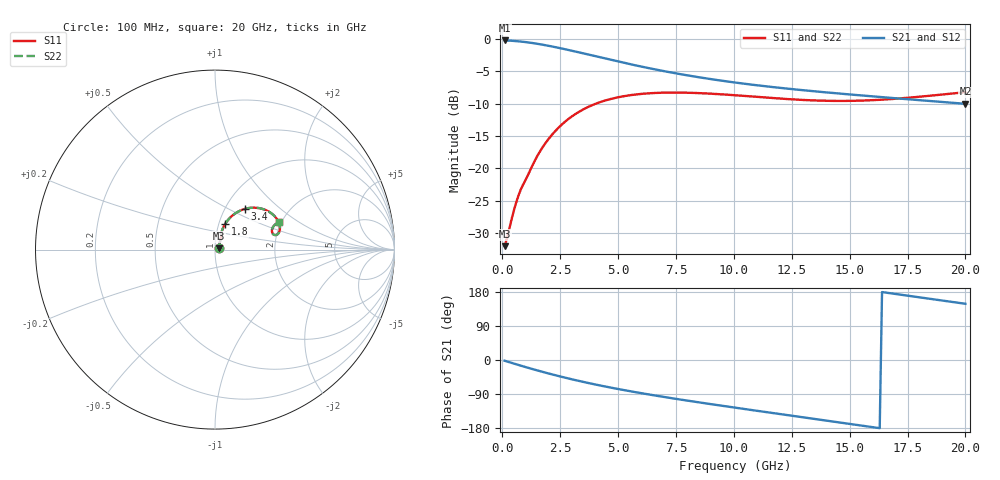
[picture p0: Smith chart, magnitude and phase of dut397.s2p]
! Touchstone file exported from HFSS 2024.1.0
!  File:  C:/UserFiles/LocalFiles/RDL_TSV_Batchsim/temp_RDL_TSV_397_1779648984.aedt
!  Generated:  03:12:26 AM May 25, 2026
!  Design:  RDL_TSV
!  Project:  temp_RDL_TSV_397_1779648984
!  Setup:  Setup1
!  Solution:  Sweep
! Variables:
!  dtsv = 11.05um
!  hbump = 3um
!  htsv = 62.61um
!  ldown = 669.67um
!  lrdl = 277.99um
!  p = 40
!  p1 = 51.76um
!  rhole = 10um
!  subl = 3120.97um
!  t = 450um
!  tdown = 4.23um
!  trdl = 3.35um
!  viad = 10um
!  wdown = 10.68um
!  wrdl = 14.39um
!  xbump = 18um
# GHz S MA R 50.000000
! Terminal data exported
! Port[1] = TM1_1_T1
! Port[2] = TM1_4_T1
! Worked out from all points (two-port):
!   200 points, 100 MHz to 20 GHz, reference 50 ohm
!   highest |S21| = -0.21 dB at 100 MHz (marker M1); lowest = -10.0 dB at 20 GHz (marker M2)
!   |S21| within 3 dB of the highest: start of sweep to 4.695 GHz
!   lowest |S11| = -32.0 dB at 100 MHz (marker M3), VSWR 1.05, Z = 52.4 + j0.818 ohm
!   |S11| at or under -10 dB: start of sweep to 4.034 GHz
!   |S22| runs from -32.0 to -8.2 dB; largest |S21 - S12| = 6.7e-14
!   S11 on the Smith chart (normalised r, x): 100 MHz: 1.05, +0.02; 1.8 GHz: 1.07, +0.31; 3.4 GHz: 1.23, +0.60; 20 GHz: 1.95, +0.70
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0.1  0.02503 18.1  0.976 -1.9  0.976 -1.9  0.02503 18.1
! Gamma 0 0 0 0
! Port Impedance 50 0 50 0
0.2  0.02871 32.9  0.9748 -3.8  0.9748 -3.8  0.0287 32.9
0.5  0.04723 55.6  0.968 -9.5  0.968 -9.5  0.04734 55.8
0.7  0.06175 61.0  0.9612 -13.1  0.9612 -13.1  0.0623 61.0
0.8  0.06868 62.3  0.9573 -15.0  0.9573 -15.0  0.06938 61.9
1  0.0811 65.2  0.9484 -18.6  0.9484 -18.6  0.08016 64.5
1.4  0.1143 69.6  0.9268 -25.6  0.9268 -25.6  0.1143 69.8
1.8  0.151 68.5  0.9012 -32.3  0.9012 -32.3  0.1511 68.6
2.5  0.2125 63.0  0.8509 -43.4  0.8509 -43.4  0.2125 63.0
3.4  0.2797 53.9  0.7829 -56.5  0.7829 -56.5  0.2798 53.9
3.5  0.2861 52.9  0.7754 -57.8  0.7754 -57.8  0.2862 52.9
4.2  0.3243 46.0  0.7246 -67.0  0.7246 -67.0  0.3244 46.0
5.1  0.3577 38.1  0.665 -77.7  0.665 -77.7  0.3578 38.1
5.9  0.3752 32.0  0.6185 -86.5  0.6185 -86.5  0.3753 32.1
6.8  0.3844 26.4  0.5734 -95.7  0.5734 -95.7  0.3845 26.4
8.3  0.3833 19.5  0.5132 -110.0  0.5132 -110.0  0.3834 19.5
10.1  0.3674 14.7  0.4602 -126.2  0.4602 -126.2  0.3674 14.7
11.7  0.3497 13.4  0.4251 -140.1  0.4251 -140.1  0.3497 13.5
13.4  0.3357 14.7  0.3959 -154.8  0.3959 -154.8  0.3357 14.7
15  0.3327 17.5  0.3731 -168.6  0.3731 -168.6  0.3327 17.5
16.7  0.3427 20.6  0.352 176.7  0.352 176.7  0.3426 20.7
20  0.3883 23.0  0.3158 148.3  0.3158 148.3  0.3882 23.0
